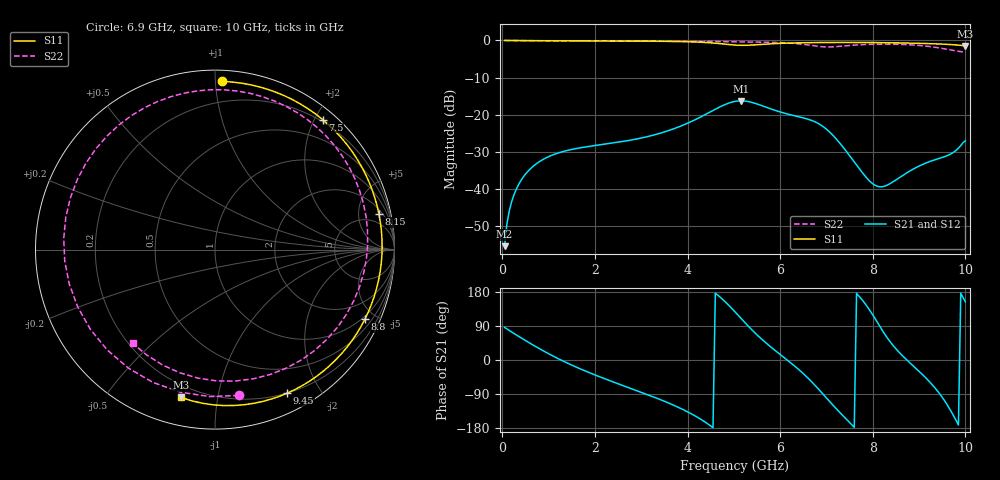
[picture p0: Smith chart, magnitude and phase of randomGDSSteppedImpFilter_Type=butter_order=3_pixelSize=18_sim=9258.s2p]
! freq	dB(S11)	phase(S11)	dB(S12)	phase(S12)
!  dB(S21)	phase(S21)	dB(S22)	phase(S22)
!S-par simulation data
#  GHz  S  DB  R 50
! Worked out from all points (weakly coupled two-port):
!   200 points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, 50 MHz to 10 GHz, reference 50 ohm
!   highest |S21| = -16.29 dB at 5.15 GHz (marker M1); lowest = -55.5 dB at 50 MHz (marker M2)
!   lowest |S11| = -1.5 dB at 10 GHz (marker M3), VSWR 11.89, Z = 6.83 - j39.3 ohm
!   |S11| at or under -10 dB: nowhere
!   |S22| runs from -3.2 to 0.0 dB; largest |S21 - S12| = 0
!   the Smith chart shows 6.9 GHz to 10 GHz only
!   S11 on the Smith chart (normalised r, x): 6.9 GHz: 0.07, +1.04; 7.5 GHz: 0.17, +2.11; 8.15 GHz: 2.67, +8.43; 8.8 GHz: 0.85, -4.36; 9.45 GHz: 0.20, -1.60; 10 GHz: 0.14, -0.79
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0.05  -0.00 -4.4  -55.50 86.0  -55.50 86.0  -0.00 -3.5
0.2  -0.03 -17.5  -43.58 74.1  -43.58 74.1  -0.02 -13.8
0.5  -0.06 -43.0  -36.08 51.4  -36.08 51.4  -0.05 -33.9
1.05  -0.10 -85.3  -31.06 13.3  -31.06 13.3  -0.09 -68.5
1.75  -0.13 -130.0  -28.82 -26.9  -28.82 -26.9  -0.12 -106.5
2.6  -0.16 -175.7  -27.27 -67.2  -27.27 -67.2  -0.14 -144.9
3.4  -0.22 141.6  -25.06 -103.9  -25.06 -103.9  -0.18 -176.6
4.35  -0.52 69.2  -20.22 -161.3  -20.22 -161.3  -0.26 146.5
4.75  -0.92 13.9  -17.62 160.8  -17.62 160.8  -0.33 129.8
5.05  -1.26 -45.4  -16.39 123.8  -16.39 123.8  -0.39 116.4
5.15  -1.32 -67.1  -16.29 110.5  -16.29 110.5  -0.41 111.6
5.75  -0.94 -173.5  -18.25 39.3  -18.25 39.3  -0.49 76.7
6.35  -0.65 126.8  -20.43 -19.8  -20.43 -19.8  -0.86 19.7
6.7  -0.58 101.1  -21.68 -59.9  -21.68 -59.9  -1.39 -37.6
6.9  -0.56 87.7  -22.99 -86.5  -22.99 -86.5  -1.69 -80.7
7.2  -0.54 68.7  -26.41 -127.1  -26.41 -127.1  -1.68 -147.3
7.5  -0.53 50.4  -31.09 -164.8  -31.09 -164.8  -1.35 160.2
8.15  -0.59 12.3  -39.48 89.0  -39.48 89.0  -1.00 86.4
8.35  -0.62 0.8  -38.80 52.1  -38.80 52.1  -1.00 68.2
8.8  -0.72 -24.9  -35.23 -7.3  -35.23 -7.3  -1.17 27.1
9.45  -0.96 -63.4  -31.76 -90.0  -31.76 -90.0  -2.05 -45.2
10  -1.46 -103.1  -27.06 153.4  -27.06 153.4  -3.16 -131.3
